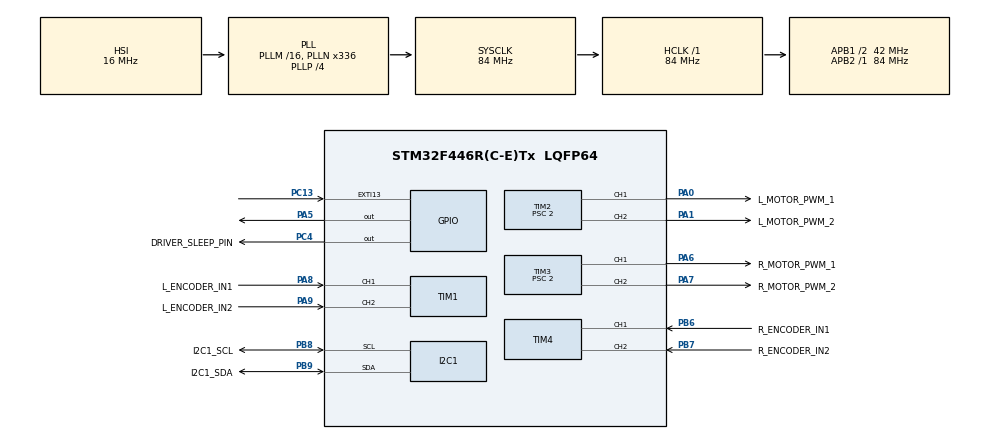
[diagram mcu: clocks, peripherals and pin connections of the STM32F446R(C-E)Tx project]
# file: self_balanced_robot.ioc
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Dma.I2C1_RX.0.Direction=DMA_PERIPH_TO_MEMORY
Dma.I2C1_RX.0.FIFOMode=DMA_FIFOMODE_DISABLE
Dma.I2C1_RX.0.Instance=DMA1_Stream0
Dma.I2C1_RX.0.MemDataAlignment=DMA_MDATAALIGN_BYTE
Dma.I2C1_RX.0.MemInc=DMA_MINC_ENABLE
Dma.I2C1_RX.0.Mode=DMA_NORMAL
Dma.I2C1_RX.0.PeriphDataAlignment=DMA_PDATAALIGN_BYTE
Dma.I2C1_RX.0.PeriphInc=DMA_PINC_DISABLE
Dma.I2C1_RX.0.Priority=DMA_PRIORITY_HIGH
Dma.Request0=I2C1_RX
I2C1.I2C_Mode=I2C_Fast
Mcu.Family=STM32F4
Mcu.Name=STM32F446R(C-E)Tx
Mcu.Package=LQFP64
NUCLEO-F446RE.BUTTON=1
NUCLEO-F446RE.LD1=true
NVIC.DMA1_Stream0_IRQn=true\:0\:0\:false\:false\:true\:false\:true\:true
NVIC.EXTI15_10_IRQn=true\:0\:0\:false\:false\:true\:false\:true\:true
NVIC.I2C1_ER_IRQn=true\:0\:0\:false\:false\:true\:true\:true\:true
NVIC.I2C1_EV_IRQn=true\:0\:0\:false\:false\:true\:true\:true\:true
NVIC.PriorityGroup=NVIC_PRIORITYGROUP_0
NVIC.TIM2_IRQn=true\:0\:0\:false\:false\:true\:true\:true\:true
NVIC.TIM3_IRQn=true\:0\:0\:false\:false\:true\:true\:true\:true
NVIC.TIM6_DAC_IRQn=true\:0\:0\:false\:false\:true\:true\:true\:true
PA0-WKUP.GPIO_Label=L_MOTOR_PWM_1
PA0-WKUP.Signal=S_TIM2_CH1_ETR
PA1.GPIO_Label=L_MOTOR_PWM_2
PA1.Signal=S_TIM2_CH2
PA13.GPIO_Label=TMS
PA13.Signal=SYS_JTMS-SWDIO
PA14.GPIO_Label=TCK
PA14.Signal=SYS_JTCK-SWCLK
PA2.GPIO_Label=USART_TX
PA2.Signal=USART2_TX
PA3.GPIO_Label=USART_RX
PA3.Signal=USART2_RX
PA5.Signal=GPIO_Output
PA6.GPIO_Label=R_MOTOR_PWM_1
PA6.Signal=S_TIM3_CH1
PA7.GPIO_Label=R_MOTOR_PWM_2
PA7.Signal=S_TIM3_CH2
PA8.GPIO_Label=L_ENCODER_IN1
PA8.GPIO_PuPd=GPIO_PULLUP
PA8.Signal=S_TIM1_CH1
PA9.GPIO_Label=L_ENCODER_IN2
PA9.GPIO_PuPd=GPIO_PULLUP
PA9.Signal=S_TIM1_CH2
PB3.GPIO_Label=SWO
PB3.Signal=SYS_JTDO-SWO
PB6.GPIO_Label=R_ENCODER_IN1
PB6.GPIO_PuPd=GPIO_PULLUP
PB6.Signal=S_TIM4_CH1
PB7.GPIO_Label=R_ENCODER_IN2
PB7.GPIO_PuPd=GPIO_PULLUP
PB7.Signal=S_TIM4_CH2
PB8.GPIO_Label=I2C1_SCL
PB8.GPIO_Mode=GPIO_MODE_AF_OD
PB8.Mode=I2C
PB8.Signal=I2C1_SCL
PB9.GPIO_Label=I2C1_SDA
PB9.Mode=I2C
PB9.Signal=I2C1_SDA
PC13.Signal=GPXTI13
PC14-OSC32_IN.Signal=RCC_OSC32_IN
PC15-OSC32_OUT.Signal=RCC_OSC32_OUT
PC4.GPIO_Label=DRIVER_SLEEP_PIN
PC4.PinState=GPIO_PIN_RESET
PC4.Signal=GPIO_Output
PH0-OSC_IN.Signal=RCC_OSC_IN
PH1-OSC_OUT.Signal=RCC_OSC_OUT
ProjectManager.HeapSize=0x200
ProjectManager.StackSize=0x400
ProjectManager.TargetToolchain=STM32CubeIDE
RCC.AHBFreq_Value=84000000
RCC.APB1CLKDivider=RCC_HCLK_DIV2
RCC.APB1Freq_Value=42000000
RCC.APB1TimFreq_Value=84000000
RCC.APB2Freq_Value=84000000
RCC.APB2TimFreq_Value=84000000
RCC.CortexFreq_Value=84000000
RCC.FLatency-AdvancedSettings=FLASH_LATENCY_2
RCC.HCLKFreq_Value=84000000
RCC.HSE_VALUE=8000000
RCC.HSI_VALUE=16000000
RCC.LSE_VALUE=32768
RCC.PLLN=336
RCC.PLLP=RCC_PLLP_DIV4
RCC.SYSCLKFreq_VALUE=84000000
RCC.SYSCLKSource=RCC_SYSCLKSOURCE_PLLCLK
RCC.USBFreq_Value=168000000
RCC.VCOOutputFreq_Value=336000000
SH.S_TIM1_CH1.0=TIM1_CH1,Encoder_Interface
SH.S_TIM1_CH2.0=TIM1_CH2,Encoder_Interface
SH.S_TIM2_CH1_ETR.0=TIM2_CH1,PWM Generation1 CH1
SH.S_TIM2_CH2.0=TIM2_CH2,PWM Generation2 CH2
SH.S_TIM3_CH1.0=TIM3_CH1,PWM Generation1 CH1
SH.S_TIM3_CH2.0=TIM3_CH2,PWM Generation2 CH2
SH.S_TIM4_CH1.0=TIM4_CH1,Encoder_Interface
SH.S_TIM4_CH2.0=TIM4_CH2,Encoder_Interface
TIM1.EncoderMode=TIM_ENCODERMODE_TI12
TIM2.Channel-PWM\ Generation1\ CH1=TIM_CHANNEL_1
TIM2.Channel-PWM\ Generation2\ CH2=TIM_CHANNEL_2
TIM2.OCFastMode_PWM-PWM\ Generation1\ CH1=TIM_OCFAST_ENABLE
TIM2.OCFastMode_PWM-PWM\ Generation2\ CH2=TIM_OCFAST_ENABLE
TIM2.Period=7999
TIM2.Prescaler=2
TIM2.Pulse-PWM\ Generation1\ CH1=240
TIM2.Pulse-PWM\ Generation2\ CH2=240
TIM3.AutoReloadPreload=TIM_AUTORELOAD_PRELOAD_ENABLE
TIM3.Channel-PWM\ Generation1\ CH1=TIM_CHANNEL_1
TIM3.Channel-PWM\ Generation2\ CH2=TIM_CHANNEL_2
TIM3.OCFastMode_PWM-PWM\ Generation1\ CH1=TIM_OCFAST_ENABLE
TIM3.OCFastMode_PWM-PWM\ Generation2\ CH2=TIM_OCFAST_ENABLE
TIM3.Period=7999
TIM3.Prescaler=2
TIM3.Pulse-PWM\ Generation1\ CH1=240
TIM3.Pulse-PWM\ Generation2\ CH2=240
TIM4.EncoderMode=TIM_ENCODERMODE_TI12
TIM6.AutoReloadPreload=TIM_AUTORELOAD_PRELOAD_ENABLE
TIM6.Period=41999
TIM6.Prescaler=3
VP_NUCLEO-F446RE_VS_BSP_COMMON.Mode=COMMON
VP_TIM6_VS_ClockSourceINT.Mode=Enable_Timer
board=NUCLEO-F446RE

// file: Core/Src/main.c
/* USER CODE BEGIN Header */
/**
  ******************************************************************************
  * @file           : main.c
  * @brief          : Main program body
  ******************************************************************************
  * @attention
  *
  * Copyright (c) 2026 STMicroelectronics.
  * All rights reserved.
  *
  * This software is licensed under terms that can be found in the LICENSE file
  * in the root directory of this software component.
  * If no LICENSE file comes with this software, it is provided AS-IS.
  *
  ******************************************************************************
  */
/* USER CODE END Header */
#include "main.h"

/* USER CODE BEGIN Includes */
#include <stdlib.h>
#include <stdio.h>
#include "stm32f4xx.h"
#include "mpu6050.h"
#include "motors.h"
#include "controller.h"
#include <math.h>
/* USER CODE END Includes */

I2C_HandleTypeDef hi2c1;
DMA_HandleTypeDef hdma_i2c1_rx;

TIM_HandleTypeDef htim1;
TIM_HandleTypeDef htim2;
TIM_HandleTypeDef htim3;
TIM_HandleTypeDef htim4;
TIM_HandleTypeDef htim6;

/* USER CODE BEGIN PV */
MPU6050_Data_t sensor_data;
volatile uint8_t ready_data = 0;
float current_angle = 0.0f;
int32_t trace_angle = 0;
volatile uint8_t stop_request = 0;
volatile int16_t target_velocity = 0;
float gyro_offset = 0.0f;
volatile float gyro_rate;
volatile float accel_angle;

const float alpha_filter = 0.98f;
const float dt = 0.01f;

extern volatile int32_t trace_vel_left;
extern volatile int32_t trace_vel_right;
volatile int32_t trace_gyro;

volatile uint32_t last_sensor_ms;   // aggiornata ogni volta che arriva un dato valido
volatile uint32_t i2c_err_count = 0, i2c_err_code = 0, i2c_recoveries = 0;

/* USER CODE END PV */

void SystemClock_Config(void);
static void MX_GPIO_Init(void);
static void MX_DMA_Init(void);
static void MX_I2C1_Init(void);
static void MX_TIM2_Init(void);
static void MX_TIM3_Init(void);
static void MX_TIM6_Init(void);
static void MX_TIM1_Init(void);
static void MX_TIM4_Init(void);
/* USER CODE BEGIN PFP */

// I'm adding this function because the communication with the sensor couldn't stop propertly, so I'm forcing

void I2C1_Bus_Recovery(void) {
    GPIO_InitTypeDef GPIO_InitStruct = {0};

    // Temporarily deactivate I2C
    HAL_I2C_DeInit(&hi2c1);

    // Configuring scl as a output port because we want to manually write on it
    GPIO_InitStruct.Pin = I2C1_SCL_Pin;
    GPIO_InitStruct.Mode = GPIO_MODE_OUTPUT_OD;
    GPIO_InitStruct.Pull = GPIO_NOPULL;
    GPIO_InitStruct.Speed = GPIO_SPEED_FREQ_HIGH;
    HAL_GPIO_Init(I2C1_SCL_GPIO_Port, &GPIO_InitStruct);

    // Configuring sda as an input port because we want to read it
    GPIO_InitStruct.Pin = I2C1_SDA_Pin;
    GPIO_InitStruct.Mode = GPIO_MODE_INPUT;
    GPIO_InitStruct.Pull = GPIO_NOPULL;
    HAL_GPIO_Init(I2C1_SDA_GPIO_Port, &GPIO_InitStruct);

    // I'm sending up to 9 clock cycle because of data (8bits (1 byte) + ack/nack)
    for (int i = 0; i < 9; i++) {
        // If sda == 1 we stop the cycle because we want the condition to start connection (SDA 1->0 while SCL == 1)
        if (HAL_GPIO_ReadPin(I2C1_SDA_GPIO_Port, I2C1_SDA_Pin) == GPIO_PIN_SET) {
            break;
        }

        // SCL 0->1 (I'm simulation I2C connection)
        HAL_GPIO_WritePin(I2C1_SCL_GPIO_Port, I2C1_SCL_Pin, GPIO_PIN_RESET);
        HAL_Delay(1);
        HAL_GPIO_WritePin(I2C1_SCL_GPIO_Port, I2C1_SCL_Pin, GPIO_PIN_SET);
        HAL_Delay(1);
    }

    // I'm manually sending the stop condition for I2C (SCL==1 and SDA == 0->1)
    // For this reason SDA should be an output port because we should set it to 1
    GPIO_InitStruct.Pin = I2C1_SDA_Pin;
    GPIO_InitStruct.Mode = GPIO_MODE_OUTPUT_OD;
    HAL_GPIO_Init(I2C1_SDA_GPIO_Port, &GPIO_InitStruct);

    HAL_GPIO_WritePin(I2C1_SCL_GPIO_Port, I2C1_SCL_Pin, GPIO_PIN_SET);
    HAL_Delay(1);
    HAL_GPIO_WritePin(I2C1_SDA_GPIO_Port, I2C1_SDA_Pin, GPIO_PIN_RESET);
    HAL_Delay(1);
    HAL_GPIO_WritePin(I2C1_SDA_GPIO_Port, I2C1_SDA_Pin, GPIO_PIN_SET);   // Now stop condition is set because SDA == 0->1 with SCL==1
    HAL_Delay(1);

    // I'm configuring ports as I2C connection again instead of being a GPIO port
    MX_I2C1_Init();
}

void HAL_I2C_ErrorCallback(I2C_HandleTypeDef *hi2c) {
    i2c_err_count++;
    i2c_err_code = HAL_I2C_GetError(hi2c);
}
/* USER CODE END PFP */

int main(void)
{

  /* MCU Configuration--------------------------------------------------------*/

  /* Reset of all peripherals, Initializes the Flash interface and the Systick. */
  HAL_Init();

  /* Configure the system clock */
  SystemClock_Config();

  /* Initialize all configured peripherals */
  MX_GPIO_Init();
  MX_DMA_Init();
  MX_I2C1_Init();
  MX_TIM2_Init();
  MX_TIM3_Init();
  MX_TIM6_Init();
  MX_TIM1_Init();
  MX_TIM4_Init();
  /* USER CODE BEGIN 2 */
  I2C1_Bus_Recovery();
  MPU6050_Init(&hi2c1);

  MPU6050_Start_DMA_Read(&hi2c1);
  float sum = 0.0f;
  const int N = 500;
  for (int i = 0; i < N; i++) {
      while (!ready_data) {}
      sum += sensor_data.gyro_y;         // già in °/s
      ready_data = 0;
      MPU6050_Start_DMA_Read(&hi2c1);
  }
  gyro_offset = sum / N;

  HAL_TIM_PWM_Start(&htim2, TIM_CHANNEL_1);
  HAL_TIM_PWM_Start(&htim2, TIM_CHANNEL_2);
  HAL_TIM_PWM_Start(&htim3, TIM_CHANNEL_1);
  HAL_TIM_PWM_Start(&htim3, TIM_CHANNEL_2);

  HAL_TIM_Encoder_Start(&htim1, TIM_CHANNEL_ALL); // Avvia Encoder Destro
  HAL_TIM_Encoder_Start(&htim4, TIM_CHANNEL_ALL); // Avvia Encoder Sinistro
  last_sensor_ms = HAL_GetTick();
  HAL_TIM_Base_Start_IT(&htim6);                  // Avvia Interrupt PID
  /* USER CODE END 2 */

  /* Initialize leds */
  BSP_LED_Init(LED2);

  /* Initialize USER push-button, will be used to trigger an interrupt each time it's pressed.*/
  BSP_PB_Init(BUTTON_USER, BUTTON_MODE_EXTI);

  /* Infinite loop */
  /* USER CODE BEGIN WHILE */
  MPU6050_Start_DMA_Read(&hi2c1);
  HAL_GPIO_WritePin(DRIVER_SLEEP_PIN_GPIO_Port, DRIVER_SLEEP_PIN_Pin, GPIO_PIN_SET);

  while (1)
  {
//	    static uint32_t last_print = 0;
//		if (HAL_GetTick() - last_print > 500) {
//			printf("MAX_L: %ld | MAX_R: %ld\n", trace_vel_left, trace_vel_right);
//			last_print = HAL_GetTick();
//			printf("ARR2: %lu ARR3: %lu\r\n",
//			       (unsigned long)__HAL_TIM_GET_AUTORELOAD(&htim2),
//			       (unsigned long)__HAL_TIM_GET_AUTORELOAD(&htim3));
//		}

	  if (ready_data) {
		  last_sensor_ms = HAL_GetTick();
		  MPU6050_Process_Data(&sensor_data.accel_x, &sensor_data.accel_z, &sensor_data.gyro_y);
		  accel_angle = atan2f(sensor_data.accel_x, sensor_data.accel_z) * (180.0f / 3.14159265f);

		  gyro_rate = sensor_data.gyro_y - gyro_offset;
		  //trace_gyro = (int32_t)(gyro_rate * 100.0f);   // 100 = 1 °/s
		  // Filtro Complementare
		  current_angle = alpha_filter * (current_angle + gyro_rate * dt) + (1.0f - alpha_filter) * accel_angle;
		  trace_angle = (int32_t) (current_angle * 100.0f);

//		  static uint32_t t = 0;
//		  if (HAL_GetTick() - t >= 100) {
//		      t = HAL_GetTick();
//		      printf("A:%.1f G:%.1f\r\n", current_angle, gyro_rate);
//		  }

			last_sensor_ms = HAL_GetTick();
			ready_data = 0;
			MPU6050_Start_DMA_Read(&hi2c1);
	  } else if (HAL_GetTick() - last_sensor_ms > 20) {
	      i2c_recoveries++;
	      HAL_I2C_DeInit(&hi2c1);
	      I2C1_Bus_Recovery();
	      MX_I2C1_Init();
	      MPU6050_Init(&hi2c1);              // il sensore può essersi resettato
	      MPU6050_Start_DMA_Read(&hi2c1);
	      last_sensor_ms = HAL_GetTick();
	  }
    /* USER CODE END WHILE */

  }
}

void SystemClock_Config(void)
{
  RCC_OscInitTypeDef RCC_OscInitStruct = {0};
  RCC_ClkInitTypeDef RCC_ClkInitStruct = {0};

  /** Configure the main internal regulator output voltage
  */
  __HAL_RCC_PWR_CLK_ENABLE();
  __HAL_PWR_VOLTAGESCALING_CONFIG(PWR_REGULATOR_VOLTAGE_SCALE3);

  /** Initializes the RCC Oscillators according to the specified parameters
  * in the RCC_OscInitTypeDef structure.
  */
  RCC_OscInitStruct.OscillatorType = RCC_OSCILLATORTYPE_HSI;
  RCC_OscInitStruct.HSIState = RCC_HSI_ON;
  RCC_OscInitStruct.HSICalibrationValue = RCC_HSICALIBRATION_DEFAULT;
  RCC_OscInitStruct.PLL.PLLState = RCC_PLL_ON;
  RCC_OscInitStruct.PLL.PLLSource = RCC_PLLSOURCE_HSI;
  RCC_OscInitStruct.PLL.PLLM = 16;
  RCC_OscInitStruct.PLL.PLLN = 336;
  RCC_OscInitStruct.PLL.PLLP = RCC_PLLP_DIV4;
  RCC_OscInitStruct.PLL.PLLQ = 2;
  RCC_OscInitStruct.PLL.PLLR = 2;
  if (HAL_RCC_OscConfig(&RCC_OscInitStruct) != HAL_OK)
  {
    Error_Handler();
  }

  /** Initializes the CPU, AHB and APB buses clocks
  */
  RCC_ClkInitStruct.ClockType = RCC_CLOCKTYPE_HCLK|RCC_CLOCKTYPE_SYSCLK
                              |RCC_CLOCKTYPE_PCLK1|RCC_CLOCKTYPE_PCLK2;
  RCC_ClkInitStruct.SYSCLKSource = RCC_SYSCLKSOURCE_PLLCLK;
  RCC_ClkInitStruct.AHBCLKDivider = RCC_SYSCLK_DIV1;
  RCC_ClkInitStruct.APB1CLKDivider = RCC_HCLK_DIV2;
  RCC_ClkInitStruct.APB2CLKDivider = RCC_HCLK_DIV1;

  if (HAL_RCC_ClockConfig(&RCC_ClkInitStruct, FLASH_LATENCY_2) != HAL_OK)
  {
    Error_Handler();
  }
}

static void MX_I2C1_Init(void)
{

  hi2c1.Instance = I2C1;
  hi2c1.Init.ClockSpeed = 400000;
  hi2c1.Init.DutyCycle = I2C_DUTYCYCLE_2;
  hi2c1.Init.OwnAddress1 = 0;
  hi2c1.Init.AddressingMode = I2C_ADDRESSINGMODE_7BIT;
  hi2c1.Init.DualAddressMode = I2C_DUALADDRESS_DISABLE;
  hi2c1.Init.OwnAddress2 = 0;
  hi2c1.Init.GeneralCallMode = I2C_GENERALCALL_DISABLE;
  hi2c1.Init.NoStretchMode = I2C_NOSTRETCH_DISABLE;
  if (HAL_I2C_Init(&hi2c1) != HAL_OK)
  {
    Error_Handler();
  }

}

static void MX_TIM1_Init(void)
{

  TIM_Encoder_InitTypeDef sConfig = {0};
  TIM_MasterConfigTypeDef sMasterConfig = {0};

  htim1.Instance = TIM1;
  htim1.Init.Prescaler = 0;
  htim1.Init.CounterMode = TIM_COUNTERMODE_UP;
  htim1.Init.Period = 65535;
  htim1.Init.ClockDivision = TIM_CLOCKDIVISION_DIV1;
  htim1.Init.RepetitionCounter = 0;
  htim1.Init.AutoReloadPreload = TIM_AUTORELOAD_PRELOAD_DISABLE;
  sConfig.EncoderMode = TIM_ENCODERMODE_TI12;
  sConfig.IC1Polarity = TIM_ICPOLARITY_RISING;
  sConfig.IC1Selection = TIM_ICSELECTION_DIRECTTI;
  sConfig.IC1Prescaler = TIM_ICPSC_DIV1;
  sConfig.IC1Filter = 0;
  sConfig.IC2Polarity = TIM_ICPOLARITY_RISING;
  sConfig.IC2Selection = TIM_ICSELECTION_DIRECTTI;
  sConfig.IC2Prescaler = TIM_ICPSC_DIV1;
  sConfig.IC2Filter = 0;
  if (HAL_TIM_Encoder_Init(&htim1, &sConfig) != HAL_OK)
  {
    Error_Handler();
  }
  sMasterConfig.MasterOutputTrigger = TIM_TRGO_RESET;
  sMasterConfig.MasterSlaveMode = TIM_MASTERSLAVEMODE_DISABLE;
  if (HAL_TIMEx_MasterConfigSynchronization(&htim1, &sMasterConfig) != HAL_OK)
  {
    Error_Handler();
  }

}

static void MX_TIM2_Init(void)
{

  TIM_MasterConfigTypeDef sMasterConfig = {0};
  TIM_OC_InitTypeDef sConfigOC = {0};

  htim2.Instance = TIM2;
  htim2.Init.Prescaler = 2;
  htim2.Init.CounterMode = TIM_COUNTERMODE_UP;
  htim2.Init.Period = 7999;
  htim2.Init.ClockDivision = TIM_CLOCKDIVISION_DIV1;
  htim2.Init.AutoReloadPreload = TIM_AUTORELOAD_PRELOAD_DISABLE;
  if (HAL_TIM_PWM_Init(&htim2) != HAL_OK)
  {
    Error_Handler();
  }
  sMasterConfig.MasterOutputTrigger = TIM_TRGO_RESET;
  sMasterConfig.MasterSlaveMode = TIM_MASTERSLAVEMODE_DISABLE;
  if (HAL_TIMEx_MasterConfigSynchronization(&htim2, &sMasterConfig) != HAL_OK)
  {
    Error_Handler();
  }
  sConfigOC.OCMode = TIM_OCMODE_PWM1;
  sConfigOC.Pulse = 240;
  sConfigOC.OCPolarity = TIM_OCPOLARITY_HIGH;
  sConfigOC.OCFastMode = TIM_OCFAST_ENABLE;
  if (HAL_TIM_PWM_ConfigChannel(&htim2, &sConfigOC, TIM_CHANNEL_1) != HAL_OK)
  {
    Error_Handler();
  }
  if (HAL_TIM_PWM_ConfigChannel(&htim2, &sConfigOC, TIM_CHANNEL_2) != HAL_OK)
  {
    Error_Handler();
  }
  HAL_TIM_MspPostInit(&htim2);

}

static void MX_TIM3_Init(void)
{

  TIM_MasterConfigTypeDef sMasterConfig = {0};
  TIM_OC_InitTypeDef sConfigOC = {0};

  htim3.Instance = TIM3;
  htim3.Init.Prescaler = 2;
  htim3.Init.CounterMode = TIM_COUNTERMODE_UP;
  htim3.Init.Period = 7999;
  htim3.Init.ClockDivision = TIM_CLOCKDIVISION_DIV1;
  htim3.Init.AutoReloadPreload = TIM_AUTORELOAD_PRELOAD_ENABLE;
  if (HAL_TIM_PWM_Init(&htim3) != HAL_OK)
  {
    Error_Handler();
  }
  sMasterConfig.MasterOutputTrigger = TIM_TRGO_RESET;
  sMasterConfig.MasterSlaveMode = TIM_MASTERSLAVEMODE_DISABLE;
  if (HAL_TIMEx_MasterConfigSynchronization(&htim3, &sMasterConfig) != HAL_OK)
  {
    Error_Handler();
  }
  sConfigOC.OCMode = TIM_OCMODE_PWM1;
  sConfigOC.Pulse = 240;
  sConfigOC.OCPolarity = TIM_OCPOLARITY_HIGH;
  sConfigOC.OCFastMode = TIM_OCFAST_ENABLE;
  if (HAL_TIM_PWM_ConfigChannel(&htim3, &sConfigOC, TIM_CHANNEL_1) != HAL_OK)
  {
    Error_Handler();
  }
  if (HAL_TIM_PWM_ConfigChannel(&htim3, &sConfigOC, TIM_CHANNEL_2) != HAL_OK)
  {
    Error_Handler();
  }
  HAL_TIM_MspPostInit(&htim3);

}

static void MX_TIM4_Init(void)
{

  TIM_Encoder_InitTypeDef sConfig = {0};
  TIM_MasterConfigTypeDef sMasterConfig = {0};

  htim4.Instance = TIM4;
  htim4.Init.Prescaler = 0;
  htim4.Init.CounterMode = TIM_COUNTERMODE_UP;
  htim4.Init.Period = 65535;
  htim4.Init.ClockDivision = TIM_CLOCKDIVISION_DIV1;
  htim4.Init.AutoReloadPreload = TIM_AUTORELOAD_PRELOAD_DISABLE;
  sConfig.EncoderMode = TIM_ENCODERMODE_TI12;
  sConfig.IC1Polarity = TIM_ICPOLARITY_RISING;
  sConfig.IC1Selection = TIM_ICSELECTION_DIRECTTI;
  sConfig.IC1Prescaler = TIM_ICPSC_DIV1;
  sConfig.IC1Filter = 0;
  sConfig.IC2Polarity = TIM_ICPOLARITY_RISING;
  sConfig.IC2Selection = TIM_ICSELECTION_DIRECTTI;
  sConfig.IC2Prescaler = TIM_ICPSC_DIV1;
  sConfig.IC2Filter = 0;
  if (HAL_TIM_Encoder_Init(&htim4, &sConfig) != HAL_OK)
  {
    Error_Handler();
  }
  sMasterConfig.MasterOutputTrigger = TIM_TRGO_RESET;
  sMasterConfig.MasterSlaveMode = TIM_MASTERSLAVEMODE_DISABLE;
  if (HAL_TIMEx_MasterConfigSynchronization(&htim4, &sMasterConfig) != HAL_OK)
  {
    Error_Handler();
  }

}

static void MX_TIM6_Init(void)
{

  TIM_MasterConfigTypeDef sMasterConfig = {0};

  htim6.Instance = TIM6;
  htim6.Init.Prescaler = 3;
  htim6.Init.CounterMode = TIM_COUNTERMODE_UP;
  htim6.Init.Period = 41999;
  htim6.Init.AutoReloadPreload = TIM_AUTORELOAD_PRELOAD_ENABLE;
  if (HAL_TIM_Base_Init(&htim6) != HAL_OK)
  {
    Error_Handler();
  }
  sMasterConfig.MasterOutputTrigger = TIM_TRGO_RESET;
  sMasterConfig.MasterSlaveMode = TIM_MASTERSLAVEMODE_DISABLE;
  if (HAL_TIMEx_MasterConfigSynchronization(&htim6, &sMasterConfig) != HAL_OK)
  {
    Error_Handler();
  }

}

static void MX_DMA_Init(void)
{

  /* DMA controller clock enable */
  __HAL_RCC_DMA1_CLK_ENABLE();

  /* DMA interrupt init */
  /* DMA1_Stream0_IRQn interrupt configuration */
  HAL_NVIC_SetPriority(DMA1_Stream0_IRQn, 0, 0);
  HAL_NVIC_EnableIRQ(DMA1_Stream0_IRQn);

}

static void MX_GPIO_Init(void)
{
  GPIO_InitTypeDef GPIO_InitStruct = {0};

  /* GPIO Ports Clock Enable */
  __HAL_RCC_GPIOC_CLK_ENABLE();
  __HAL_RCC_GPIOH_CLK_ENABLE();
  __HAL_RCC_GPIOA_CLK_ENABLE();
  __HAL_RCC_GPIOB_CLK_ENABLE();

  /*Configure GPIO pin Output Level */
  HAL_GPIO_WritePin(DRIVER_SLEEP_PIN_GPIO_Port, DRIVER_SLEEP_PIN_Pin, GPIO_PIN_RESET);

  /*Configure GPIO pins : USART_TX_Pin USART_RX_Pin */
  GPIO_InitStruct.Pin = USART_TX_Pin|USART_RX_Pin;
  GPIO_InitStruct.Mode = GPIO_MODE_AF_PP;
  GPIO_InitStruct.Pull = GPIO_NOPULL;
  GPIO_InitStruct.Speed = GPIO_SPEED_FREQ_VERY_HIGH;
  GPIO_InitStruct.Alternate = GPIO_AF7_USART2;
  HAL_GPIO_Init(GPIOA, &GPIO_InitStruct);

  /*Configure GPIO pin : DRIVER_SLEEP_PIN_Pin */
  GPIO_InitStruct.Pin = DRIVER_SLEEP_PIN_Pin;
  GPIO_InitStruct.Mode = GPIO_MODE_OUTPUT_PP;
  GPIO_InitStruct.Pull = GPIO_NOPULL;
  GPIO_InitStruct.Speed = GPIO_SPEED_FREQ_LOW;
  HAL_GPIO_Init(DRIVER_SLEEP_PIN_GPIO_Port, &GPIO_InitStruct);

}

/* USER CODE BEGIN 4 */
int __io_putchar(int ch) {
    ITM_SendChar(ch);
    return ch;
}

void HAL_I2C_MemRxCpltCallback(I2C_HandleTypeDef *hi2c) {
    if (hi2c->Instance == I2C1) {
        ready_data = 1;
    }
}

void HAL_TIM_PeriodElapsedCallback(TIM_HandleTypeDef *htim) {
    if (htim->Instance == TIM6) {
    		PIDController(&htim1, &htim4, &htim3, &htim2);
    }
}

/* USER CODE BEGIN 4 */
void HAL_GPIO_EXTI_Callback(uint16_t GPIO_Pin)
{
    // Variabile statica per ricordare l'ultimo momento in cui è stato premuto
    static uint32_t last_interrupt_time = 0;
    uint32_t interrupt_time = HAL_GetTick();

    if (GPIO_Pin == BUTTON_USER) // Usa la macro corretta per il tuo bottone
    {
        // Ignora gli interrupt se sono passati meno di 200ms (Debounce)
        if (interrupt_time - last_interrupt_time > 200)
        {
        	if (BSP_PB_GetState(BUTTON_USER) == 1)
			{
				stop_request = !stop_request; // Esegue il toggle solo alla pressione
			}
        }
        last_interrupt_time = interrupt_time;
    }
}
/* USER CODE END 4 */

void Error_Handler(void)
{
  /* USER CODE BEGIN Error_Handler_Debug */
  /* User can add his own implementation to report the HAL error return state */
  BSP_LED_On(LED2);
  //__disable_irq();
  while (1)
  {
  }
  /* USER CODE END Error_Handler_Debug */
}
